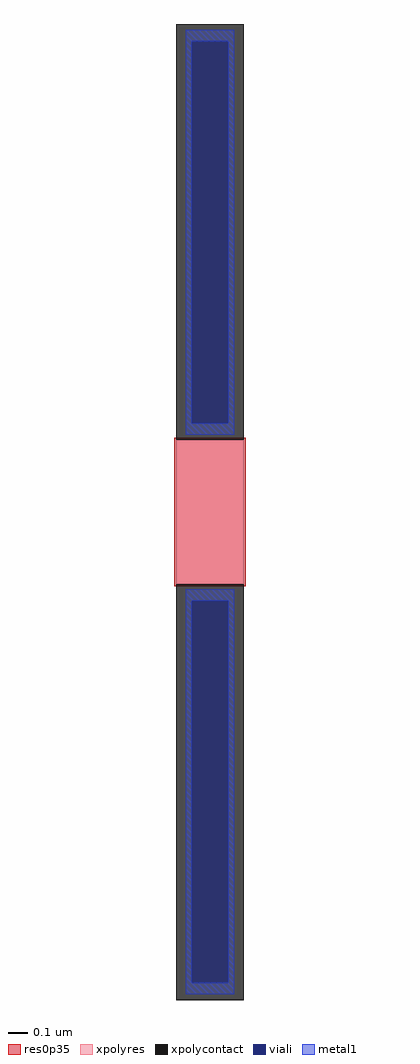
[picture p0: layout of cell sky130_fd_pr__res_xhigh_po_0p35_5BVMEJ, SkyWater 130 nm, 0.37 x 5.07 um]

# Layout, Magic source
magic
tech sky130A
magscale 1 2
<< xpolycontact >>
rect -35 75 35 507
rect -35 -507 35 -75
<< xpolyres >>
rect -35 -75 35 75
<< viali >>
rect -19 92 19 489
rect -19 -489 19 -92
<< metal1 >>
rect -25 489 25 501
rect -25 92 -19 489
rect 19 92 25 489
rect -25 80 25 92
rect -25 -92 25 -80
rect -25 -489 -19 -92
rect 19 -489 25 -92
rect -25 -501 25 -489
<< res0p35 >>
rect -37 -77 37 77
<< properties >>
string gencell sky130_fd_pr__res_xhigh_po_0p35
string parameters w 0.350 l 0.75 m 1 nx 1 wmin 0.350 lmin 0.50 rho 2000 val 4.971k dummy 0 dw 0.0 term 120 sterm 0.0 caplen 0 wmax 0.350 guard 0 glc 0 grc 0 gtc 0 gbc 0 compatible {sky130_fd_pr__res_xhigh_po_0p35  sky130_fd_pr__res_xhigh_po_0p69 sky130_fd_pr__res_xhigh_po_1p41  sky130_fd_pr__res_xhigh_po_2p85 sky130_fd_pr__res_xhigh_po_5p73} full_metal 0 vias 1 viagb 0 viagt 0 viagl 0 viagr 0
string library sky130
<< end >>
